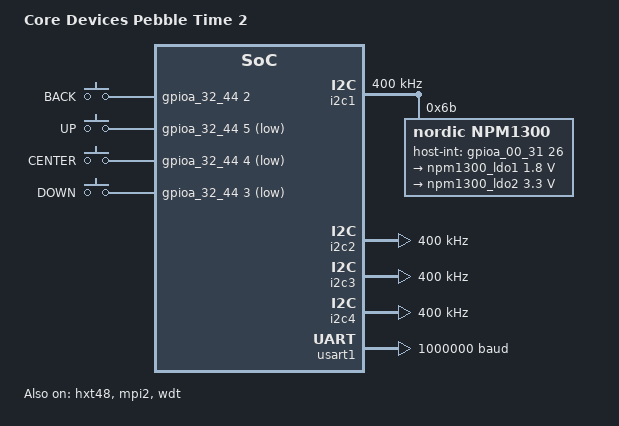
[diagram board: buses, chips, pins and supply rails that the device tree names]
/*
 * Copyright (c) 2025 Core Devices LLC
 * SPDX-License-Identifier: Apache-2.0
 */

/dts-v1/;

#include <sifli/sf32lb52x.dtsi>
#include <sifli/sf32lb52x-ram012.dtsi>
#include <zephyr/dt-bindings/dma/sf32lb52x-dma.h>
#include <zephyr/dt-bindings/gpio/gpio.h>
#include <zephyr/dt-bindings/i2c/i2c.h>
#include <zephyr/dt-bindings/input/input-event-codes.h>
#include <zephyr/dt-bindings/regulator/npm13xx.h>

#include "pt2-pinctrl.dtsi"

/ {
	model = "Core Devices Pebble Time 2";
	compatible = "coredevices,pt2";

	#address-cells = <1>;
	#size-cells = <1>;

	chosen {
		zephyr,flash = &gd25q256e;
		zephyr,flash-controller = &mpi2;
		zephyr,code-partition = &code;
		zephyr,console = &usart1;
		zephyr,shell-uart = &usart1;
	};

	buttons {
		compatible = "gpio-keys";

		btn_back: button-back {
			label = "BACK";
			gpios = <&gpioa_32_44 2 GPIO_ACTIVE_HIGH>;
			zephyr,code = <INPUT_KEY_BACK>;
		};

		btn_up: button-up {
			label = "UP";
			gpios = <&gpioa_32_44 5 (GPIO_ACTIVE_LOW | GPIO_PULL_UP)>;
			zephyr,code = <INPUT_KEY_UP>;
		};

		btn_center: button-center {
			label = "CENTER";
			gpios = <&gpioa_32_44 4 (GPIO_ACTIVE_LOW | GPIO_PULL_UP)>;
			zephyr,code = <INPUT_KEY_ENTER>;
		};

		btn_down: button-down {
			label = "DOWN";
			gpios = <&gpioa_32_44 3 (GPIO_ACTIVE_LOW | GPIO_PULL_UP)>;
			zephyr,code = <INPUT_KEY_DOWN>;
		};
	};

	aliases {
		sw0 = &btn_back;
		sw1 = &btn_up;
		watchdog0 = &wdt;
	};
};

&cpu0 {
	clock-frequency = <DT_FREQ_M(240)>;
};

&dmac {
	status = "okay";
};

&gpioa_00_31 {
	status = "okay";
};

&gpioa_32_44 {
	status = "okay";
};

&hxt48 {
	status = "okay";
};

&i2c1 {
	status = "okay";
	pinctrl-0 = <&i2c1_default>;
	pinctrl-names = "default";
	clock-frequency = <I2C_BITRATE_FAST>;

	npm1300: pmic@6b {
		compatible = "nordic,npm1300";
		reg = <0x6b>;
		pmic-int-pin = <1>;
		host-int-gpios = <&gpioa_00_31 26 GPIO_ACTIVE_HIGH>;

		npm1300_charger: charger {
			compatible = "nordic,npm1300-charger";
			term-microvolt = <4350000>;
			term-warm-microvolt = <4000000>;
			current-microamp = <185000>;
			dischg-limit-microamp = <200000>;
			vbus-limit-microamp = <500000>;
			thermistor-ohms = <10000>;
			thermistor-beta = <3380>;
			charging-enable;
			vbatlow-charge-enable;
		};

		npm1300_gpio: gpio-controller {
			compatible = "nordic,npm1300-gpio";
			gpio-controller;
			#gpio-cells = <2>;
			ngpios = <4>;
		};

		regulators {
			compatible = "nordic,npm1300-regulator";

			npm1300_ldo1: LDO1 {
				regulator-allowed-modes = <NPM13XX_LDSW_MODE_LDO>;
				regulator-initial-mode = <NPM13XX_LDSW_MODE_LDO>;
				regulator-min-microvolt = <1800000>;
				regulator-max-microvolt = <1800000>;
			};

			npm1300_ldo2: LDO2 {
				regulator-allowed-modes = <NPM13XX_LDSW_MODE_LDO>;
				regulator-initial-mode = <NPM13XX_LDSW_MODE_LDO>;
				regulator-min-microvolt = <3300000>;
				regulator-max-microvolt = <3300000>;
			};
		};
	};
};

&i2c2 {
	status = "okay";
	pinctrl-0 = <&i2c2_default>;
	pinctrl-names = "default";
	clock-frequency = <I2C_BITRATE_FAST>;
};

&i2c3 {
	status = "okay";
	pinctrl-0 = <&i2c3_default>;
	pinctrl-names = "default";
	clock-frequency = <I2C_BITRATE_FAST>;
};

&i2c4 {
	status = "okay";
	pinctrl-0 = <&i2c4_default>;
	pinctrl-names = "default";
	clock-frequency = <I2C_BITRATE_FAST>;
};

&mpi2 {
	compatible = "sifli,sf32lb-mpi-qspi-nor";
	dmas = <&dmac 0 SF32LB52X_DMA_REQ_MPI2 SF32LB_DMA_PL_MEDIUM>;
	sifli,lines = <4>;
	sifli,psclr = <0>;
	status = "okay";

	gd25q256e: flash@0 {
		compatible = "gd,gd25q256e", "jedec,qspi-nor";
		reg = <0x0>;
		size = <DT_SIZE_M(256)>;
		quad-enable-requirements = "S2B1v6";

		partitions {
			compatible = "fixed-partitions";
			#address-cells = <1>;
			#size-cells = <1>;

			ptable: partition@0 {
				label = "ptable";
				reg = <0x0 DT_SIZE_K(64)>;
			};

			code: partition@10000 {
				label = "code";
				reg = <0x10000 DT_SIZE_K(32704)>;
			};
		};
	};
};

&pinctrl {
	status = "okay";
};

&rcc_clk {
	status = "okay";

	sifli,hdiv = <1>;
	sifli,pdiv1 = <1>;
	sifli,pdiv2 = <6>;

	dll1 {
		status = "okay";
		clock-frequency = <DT_FREQ_M(240)>;
	};
};

&usart1 {
	status = "okay";
	current-speed = <1000000>;
	pinctrl-0 = <&usart1_default>;
	pinctrl-names = "default";
};

&wdt {
	status = "okay";
};
